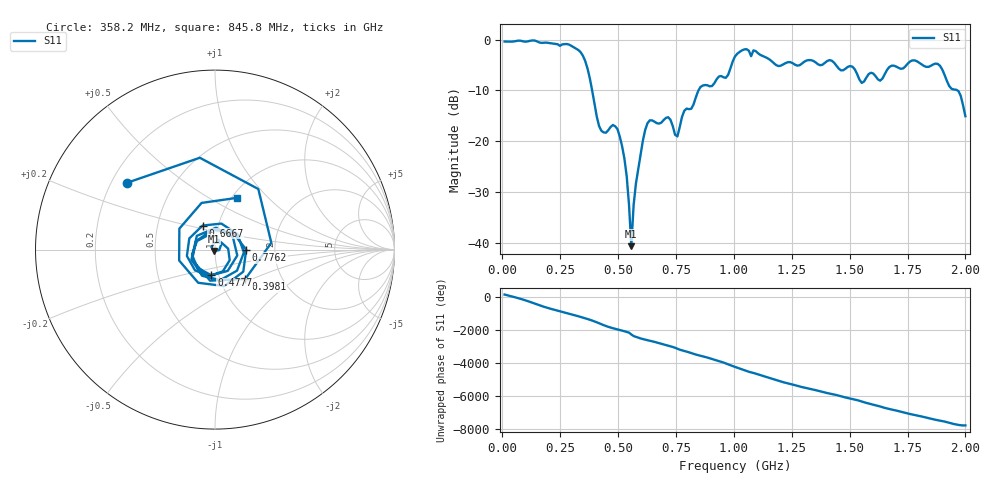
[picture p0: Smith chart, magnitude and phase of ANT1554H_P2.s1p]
!Created with skrf (http://scikit-rf.org).
# Hz S RI R 50.0
!freq ReS11 ImS11
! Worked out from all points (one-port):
!   201 points, 10 MHz to 2 GHz, reference 50 ohm
!   lowest |S11| = -40.7 dB at 557.2 MHz (marker M1), VSWR 1.02, Z = 49.6 - j0.812 ohm
!   |S11| at or under -10 dB: 388.1 MHz to 847.2 MHz (459.1 MHz wide, 74.3 % of centre); 1.966 GHz to end of sweep
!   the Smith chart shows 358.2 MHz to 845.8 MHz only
!   S11 on the Smith chart (normalised r, x): 358.2 MHz: 0.26, +0.32; 398.1 MHz: 1.32, -0.46; 477.6 MHz: 0.92, -0.27; 666.7 MHz: 0.84, +0.23; 776.1 MHz: 1.42, -0.00; 845.8 MHz: 1.05, +0.67
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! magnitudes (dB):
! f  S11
! 10 MHz  -0.4
! 258.8 MHz  -0.9
! 358.2 MHz  -4.2
! 398.1 MHz  -12.6
! 427.9 MHz  -17.9
! 477.6 MHz  -16.8
! 507.5 MHz  -19.1
! 537.4 MHz  -26.9
! 557.2 MHz  -40.7
! 567.2 MHz  -32.6
! 577.1 MHz  -28.3
! 607 MHz  -19.9
! 626.9 MHz  -16.5
! 666.7 MHz  -16.4
! 716.5 MHz  -15.3
! 756.2 MHz  -19.0
! 776.1 MHz  -15.2
! 845.8 MHz  -10.1
! 965.2 MHz  -7.5
! 1.005 GHz  -3.3
! 1.055 GHz  -1.9
! 1.254 GHz  -4.6
! 1.502 GHz  -5.2
! 1.552 GHz  -8.5
! 1.751 GHz  -4.7
! 1.891 GHz  -5.1
! 1.97 GHz  -10.1
! 2 GHz  -15.1
